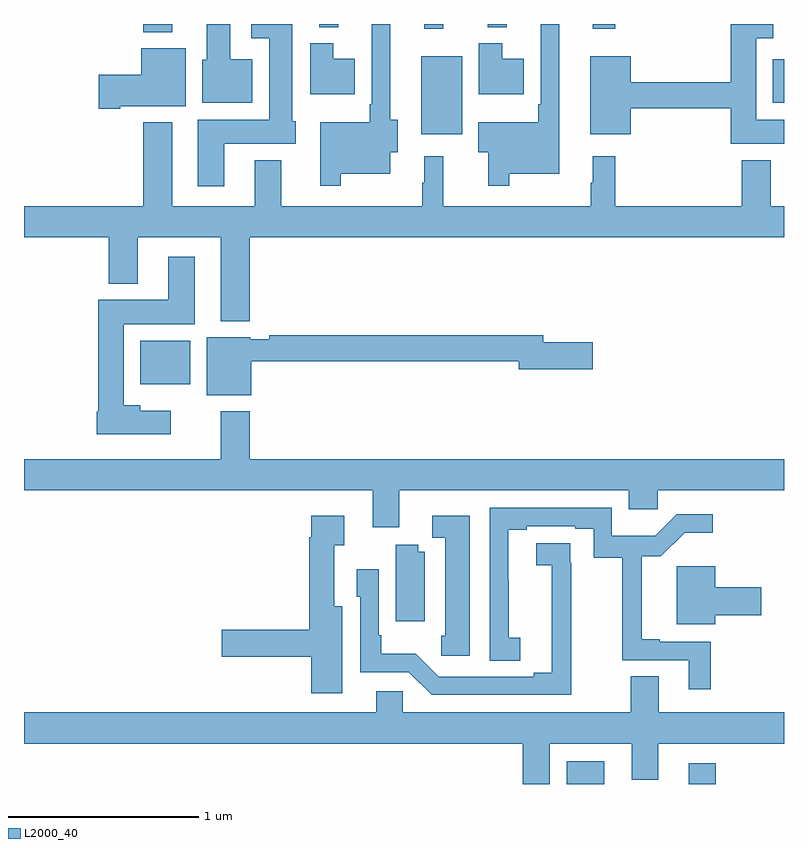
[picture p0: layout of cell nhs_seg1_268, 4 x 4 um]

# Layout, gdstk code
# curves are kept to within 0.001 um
import gdstk
lib = gdstk.Library(unit=1e-6, precision=1e-09)
def R(c, l, rs):  # rectangles x0, y0, x1, y1
    for r in rs: c.add(gdstk.rectangle(r[:2], r[2:], *l))
def P(c, l, *ps):  # polygons
    for p in ps: c.add(gdstk.Polygon(p, *l))
L2000_40 = (2000, 40)

nhs_seg1_268 = lib.new_cell('nhs_seg1_268')
R(nhs_seg1_268, L2000_40, [(127.857,538.199,128.053,538.318), (128.498,538.199,128.64,538.309), (125.612,540.302,125.875,540.532), (127.091,541.619,127.306,542.029), (128.942,541.784,129,542.014), (125.627,542.156,125.779,542.199), (127.106,542.175,127.206,542.199), (127.994,542.175,128.111,542.199), (126.554,542.183,126.653,542.199), (127.441,542.183,127.541,542.199)])
P(nhs_seg1_268, L2000_40, [(126.667,541.412),(126.928,541.412),(126.928,541.523),(126.967,541.523),(126.967,541.694),(126.928,541.694),(126.928,542.199),(126.831,542.199),(126.831,541.777),(126.819,541.777),(126.819,541.681),(126.558,541.681),(126.558,541.347),(126.667,541.347)],
  [(126.202,542.014),(126.085,542.014),(126.085,542.199),(125.963,542.199),(125.963,542.01),(125.939,542.01),(125.939,541.784),(126.202,541.784)],
  [(129,541.696),(128.854,541.696),(128.854,542.123),(128.944,542.123),(128.944,542.199),(128.72,542.199),(128.72,541.892),(128.194,541.892),(128.194,542.029),(127.979,542.029),(127.979,541.619),(128.194,541.619),(128.194,541.756),(128.72,541.756),(128.72,541.568),(129,541.568)],
  [(127.555,541.412),(127.816,541.412),(127.816,542.199),(127.719,542.199),(127.719,541.777),(127.707,541.777),(127.707,541.681),(127.392,541.681),(127.392,541.523),(127.444,541.523),(127.444,541.347),(127.555,541.347)],
  [(126.055,541.568),(126.43,541.568),(126.43,541.686),(126.412,541.686),(126.412,542.199),(126.195,542.199),(126.195,542.123),(126.29,542.123),(126.29,541.696),(125.915,541.696),(125.915,541.344),(126.055,541.344)],
  [(127.63,542.017),(127.516,542.017),(127.516,542.098),(127.394,542.098),(127.394,541.829),(127.63,541.829)],
  [(126.742,542.017),(126.628,542.017),(126.628,542.098),(126.506,542.098),(126.506,541.829),(126.742,541.829)],
  [(125.506,541.766),(125.851,541.766),(125.851,542.071),(125.618,542.071),(125.618,541.932),(125.394,541.932),(125.394,541.754),(125.506,541.754)],
  [(126.188,541.076),(129,541.076),(129,541.24),(128.929,541.24),(128.929,541.483),(128.777,541.483),(128.777,541.24),(128.111,541.24),(128.111,541.504),(127.994,541.504),(127.994,541.364),(127.983,541.364),(127.983,541.24),(127.206,541.24),(127.206,541.504),(127.106,541.504),(127.106,541.364),(127.095,541.364),(127.095,541.24),(126.355,541.24),(126.355,541.483),(126.215,541.483),(126.215,541.24),(125.779,541.24),(125.779,541.681),(125.627,541.681),(125.627,541.24),(125,541.24),(125,541.076),(125.447,541.076),(125.447,540.833),(125.599,540.833),(125.599,541.076),(126.035,541.076),(126.035,540.635),(126.188,540.635)],
  [(125.773,540.163),(125.611,540.163),(125.611,540.193),(125.524,540.193),(125.524,540.62),(125.899,540.62),(125.899,540.973),(125.759,540.973),(125.759,540.748),(125.39,540.748),(125.39,540.159),(125.384,540.159),(125.384,540.041),(125.773,540.041)],
  [(126.196,540.424),(127.604,540.424),(127.604,540.382),(127.993,540.382),(127.993,540.524),(127.732,540.524),(127.732,540.56),(126.292,540.56),(126.292,540.54),(126.192,540.54),(126.192,540.55),(125.963,540.55),(125.963,540.245),(126.196,540.245)],
  [(126.976,539.744),(128.183,539.744),(128.183,539.646),(128.335,539.646),(128.335,539.744),(129,539.744),(129,539.908),(126.188,539.908),(126.188,540.16),(126.035,540.16),(126.035,539.908),(125,539.908),(125,539.744),(126.836,539.744),(126.836,539.55),(126.976,539.55)],
  [(128.615,538.947),(128.347,538.947),(128.347,538.96),(128.252,538.96),(128.252,539.397),(128.351,539.397),(128.477,539.522),(128.626,539.522),(128.626,539.619),(128.436,539.619),(128.323,539.506),(128.094,539.506),(128.094,539.652),(127.452,539.652),(127.452,538.849),(127.612,538.849),(127.612,538.969),(127.551,538.969),(127.551,539.273),(127.549,539.273),(127.549,539.536),(127.645,539.536),(127.645,539.556),(127.901,539.556),(127.901,539.542),(127.998,539.542),(127.998,539.389),(128.149,539.389),(128.149,538.851),(128.498,538.851),(128.498,538.698),(128.615,538.698)],
  [(127.345,539.611),(127.149,539.611),(127.149,539.496),(127.217,539.496),(127.217,538.98),(127.195,538.98),(127.195,538.875),(127.345,538.875)],
  [(126.676,539.134),(126.634,539.134),(126.634,539.455),(126.685,539.455),(126.685,539.611),(126.512,539.611),(126.512,539.498),(126.5,539.498),(126.5,539.012),(126.042,539.012),(126.042,538.87),(126.512,538.87),(126.512,538.677),(126.676,538.677)],
  [(127.88,539.363),(127.874,539.363),(127.874,539.465),(127.695,539.465),(127.695,539.35),(127.777,539.35),(127.778,538.784),(127.682,538.784),(127.682,538.764),(127.182,538.764),(127.061,538.885),(126.88,538.885),(126.88,538.981),(126.867,538.981),(126.867,539.329),(126.75,539.329),(126.75,539.184),(126.771,539.184),(126.771,538.788),(127.026,538.788),(127.146,538.668),(127.88,538.668)],
  [(127.108,539.422),(127.076,539.422),(127.076,539.459),(126.956,539.459),(126.956,539.055),(127.108,539.055)],
  [(128.638,539.087),(128.881,539.087),(128.881,539.234),(128.638,539.234),(128.638,539.344),(128.435,539.344),(128.435,539.039),(128.638,539.039)],
  [(127.768,538.412),(128.198,538.412),(128.198,538.222),(128.338,538.222),(128.338,538.412),(129,538.412),(129,538.576),(128.341,538.576),(128.341,538.766),(128.194,538.766),(128.194,538.576),(126.993,538.576),(126.993,538.686),(126.854,538.686),(126.854,538.576),(125,538.576),(125,538.412),(127.625,538.412),(127.625,538.199),(127.768,538.199)])

lib.write_gds('nhs_seg1_268.gds')
